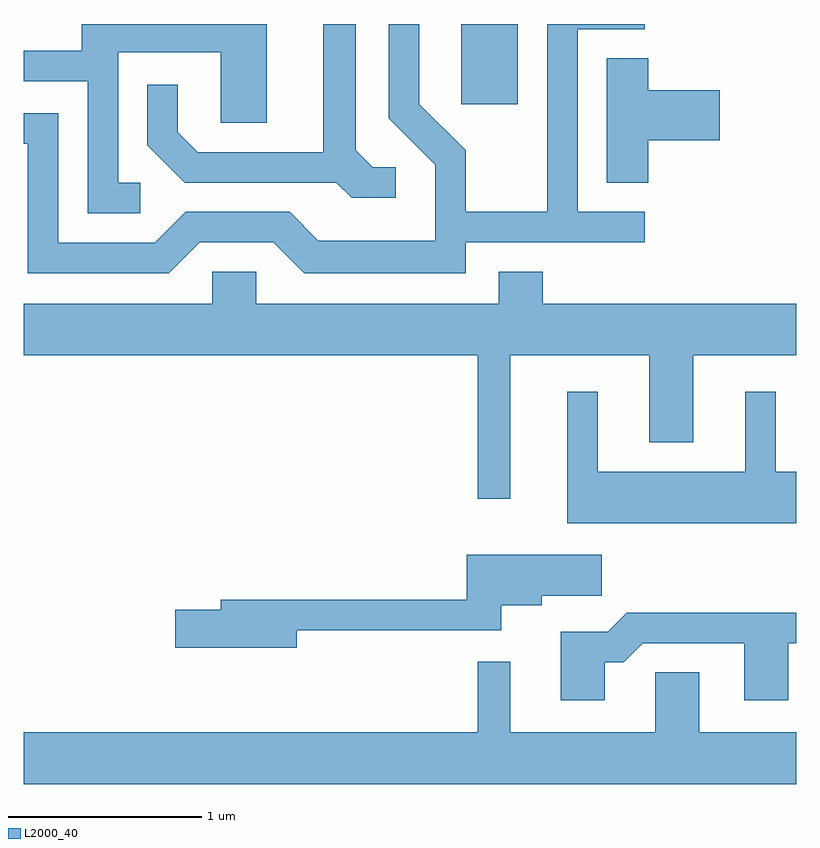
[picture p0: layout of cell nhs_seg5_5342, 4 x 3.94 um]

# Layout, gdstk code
import gdstk
lib = gdstk.Library(unit=1e-6, precision=1e-09)
def R(c, l, rs):  # rectangles x0, y0, x1, y1
    for r in rs: c.add(gdstk.rectangle(r[:2], r[2:], *l))
def P(c, l, *ps):  # polygons
    for p in ps: c.add(gdstk.Polygon(p, *l))
L2000_40 = (2000, 40)

nhs_seg5_5342 = lib.new_cell('nhs_seg5_5342')
R(nhs_seg5_5342, L2000_40, [(345.876,1453.656,346.169,1454.072)])
P(nhs_seg5_5342, L2000_40, [(344.213,1453.249),(344.099,1453.249),(344.099,1453.926),(344.631,1453.926),(344.631,1453.561),(344.869,1453.561),(344.869,1454.072),(343.911,1454.072),(343.911,1453.934),(343.611,1453.934),(343.611,1453.776),(343.941,1453.776),(343.941,1453.091),(344.213,1453.091)],
  [(345.538,1453.329),(345.417,1453.329),(345.329,1453.417),(345.329,1454.072),(345.161,1454.072),(345.161,1453.409),(344.512,1453.409),(344.409,1453.512),(344.409,1453.758),(344.251,1453.758),(344.251,1453.444),(344.444,1453.251),(345.229,1453.251),(345.309,1453.171),(345.538,1453.171)],
  [(344.522,1452.941),(344.904,1452.941),(345.064,1452.781),(345.899,1452.781),(345.899,1452.941),(346.828,1452.941),(346.828,1453.099),(346.479,1453.099),(346.479,1454.046),(346.828,1454.046),(346.828,1454.072),(346.321,1454.072),(346.321,1453.099),(345.899,1453.099),(345.899,1453.417),(345.659,1453.657),(345.659,1454.072),(345.501,1454.072),(345.501,1453.584),(345.741,1453.344),(345.741,1452.949),(345.137,1452.949),(344.987,1453.099),(344.449,1453.099),(344.289,1452.939),(343.789,1452.939),(343.789,1453.609),(343.611,1453.609),(343.611,1453.451),(343.631,1453.451),(343.631,1452.781),(344.362,1452.781)],
  [(346.844,1453.471),(347.214,1453.471),(347.214,1453.729),(346.844,1453.729),(346.844,1453.894),(346.631,1453.894),(346.631,1453.251),(346.844,1453.251)],
  [(346.129,1452.356),(346.851,1452.356),(346.851,1451.906),(347.079,1451.906),(347.079,1452.356),(347.611,1452.356),(347.611,1452.624),(346.299,1452.624),(346.299,1452.789),(346.071,1452.789),(346.071,1452.624),(344.814,1452.624),(344.814,1452.789),(344.586,1452.789),(344.586,1452.624),(343.611,1452.624),(343.611,1452.356),(345.961,1452.356),(345.961,1451.613),(346.129,1451.613)],
  [(347.611,1451.754),(347.504,1451.754),(347.504,1452.168),(347.346,1452.168),(347.346,1451.754),(346.584,1451.754),(346.584,1452.168),(346.426,1452.168),(346.426,1451.486),(347.611,1451.486)],
  [(345.024,1450.931),(346.084,1450.931),(346.084,1451.061),(346.294,1451.061),(346.294,1451.111),(346.604,1451.111),(346.604,1451.324),(345.906,1451.324),(345.906,1451.089),(344.631,1451.089),(344.631,1451.039),(344.396,1451.039),(344.396,1450.841),(345.024,1450.841)],
  [(346.619,1450.766),(346.717,1450.766),(346.817,1450.866),(347.341,1450.866),(347.341,1450.571),(347.569,1450.571),(347.569,1450.866),(347.611,1450.866),(347.611,1451.024),(346.734,1451.024),(346.634,1450.924),(346.391,1450.924),(346.391,1450.571),(346.619,1450.571)],
  [(347.611,1450.404),(347.109,1450.404),(347.109,1450.714),(346.881,1450.714),(346.881,1450.404),(346.129,1450.404),(346.129,1450.768),(345.961,1450.768),(345.961,1450.404),(343.611,1450.404),(343.611,1450.136),(347.611,1450.136)])

lib.write_gds('nhs_seg5_5342.gds')
